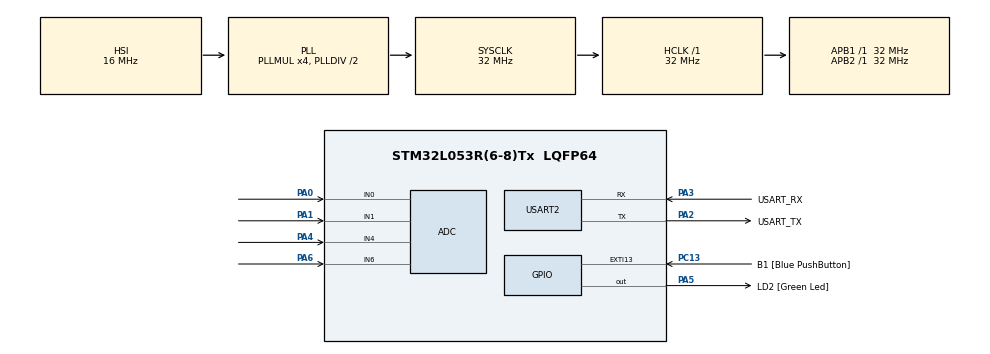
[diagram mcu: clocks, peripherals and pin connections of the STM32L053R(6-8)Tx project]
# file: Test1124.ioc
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ADC.ContinuousConvMode=ENABLE
ADC.DMAContinuousRequests=DISABLE
Dma.ADC.0.Direction=DMA_PERIPH_TO_MEMORY
Dma.ADC.0.Instance=DMA1_Channel1
Dma.ADC.0.MemDataAlignment=DMA_MDATAALIGN_HALFWORD
Dma.ADC.0.MemInc=DMA_MINC_ENABLE
Dma.ADC.0.Mode=DMA_CIRCULAR
Dma.ADC.0.PeriphDataAlignment=DMA_PDATAALIGN_HALFWORD
Dma.ADC.0.PeriphInc=DMA_PINC_DISABLE
Dma.ADC.0.Priority=DMA_PRIORITY_LOW
Dma.Request0=ADC
Mcu.Family=STM32L0
Mcu.Name=STM32L053R(6-8)Tx
Mcu.Package=LQFP64
NVIC.DMA1_Channel1_IRQn=true\:0\:0\:false\:false\:true\:false\:true\:true
PA0.Mode=IN0
PA0.Signal=ADC_IN0
PA1.Mode=IN1
PA1.Signal=ADC_IN1
PA13.GPIO_Label=TMS
PA13.Mode=Serial_Wire
PA13.Signal=SYS_SWDIO
PA14.GPIO_Label=TCK
PA14.Mode=Serial_Wire
PA14.Signal=SYS_SWCLK
PA2.GPIO_Label=USART_TX
PA2.Mode=Asynchronous
PA2.Signal=USART2_TX
PA3.GPIO_Label=USART_RX
PA3.Mode=Asynchronous
PA3.Signal=USART2_RX
PA4.Mode=IN4
PA4.Signal=ADC_IN4
PA5.GPIO_Label=LD2 [Green Led]
PA5.Signal=GPIO_Output
PA6.Mode=IN6
PA6.Signal=ADC_IN6
PC13.GPIO_Label=B1 [Blue PushButton]
PC13.GPIO_ModeDefaultEXTI=GPIO_MODE_IT_FALLING
PC13.Signal=GPXTI13
PC14-OSC32_IN.Mode=LSE-External-Oscillator
PC14-OSC32_IN.Signal=RCC_OSC32_IN
PC15-OSC32_OUT.Mode=LSE-External-Oscillator
PC15-OSC32_OUT.Signal=RCC_OSC32_OUT
PH0-OSC_IN.Mode=HSE-External-Clock-Source
PH0-OSC_IN.Signal=RCC_OSC_IN
PH1-OSC_OUT.Signal=RCC_OSC_OUT
ProjectManager.HeapSize=0x200
ProjectManager.StackSize=0x400
ProjectManager.TargetToolchain=CMake
RCC.AHBFreq_Value=32000000
RCC.APB1Freq_Value=32000000
RCC.APB1TimFreq_Value=32000000
RCC.APB2Freq_Value=32000000
RCC.APB2TimFreq_Value=32000000
RCC.HCLKFreq_Value=32000000
RCC.HSE_VALUE=8000000
RCC.HSI16_VALUE=16000000
RCC.HSI48_VALUE=48000000
RCC.HSI_VALUE=16000000
RCC.MSI_VALUE=2097000
RCC.PLLMUL=RCC_PLLMUL_4
RCC.SYSCLKFreq_VALUE=32000000
RCC.SYSCLKSource=RCC_SYSCLKSOURCE_PLLCLK
RCC.VCOOutputFreq_Value=64000000
USART2.VirtualMode-Asynchronous=VM_ASYNC
board=NUCLEO-L053R8

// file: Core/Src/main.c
/* USER CODE BEGIN Header */
/**
 ******************************************************************************
 * @file           : main.c
 * @brief          : Main program body
 ******************************************************************************
 * @attention
 *
 * Copyright (c) 2024 STMicroelectronics.
 * All rights reserved.
 *
 * This software is licensed under terms that can be found in the LICENSE file
 * in the root directory of this software component.
 * If no LICENSE file comes with this software, it is provided AS-IS.
 *
 ******************************************************************************
 */
/* USER CODE END Header */
#include "main.h"
#include <stm32l0xx_hal_pwr.h>
#include "SEGGER_RTT.h"

ADC_HandleTypeDef hadc;

UART_HandleTypeDef huart2;

void SystemClock_Config(void);
static void MX_GPIO_Init(void);
static void MX_ADC_Init(void);
static void MX_USART2_UART_Init(void);

int main(void)
{

  /* USER CODE BEGIN 1 */
  uint8_t counter;
  uint16_t voltage[4];
  /* USER CODE END 1 */

  /* MCU Configuration--------------------------------------------------------*/

  /* Reset of all peripherals, Initializes the Flash interface and the Systick. */
  HAL_Init();

  /* Configure the system clock */
  SystemClock_Config();

  /* Initialize all configured peripherals */
  MX_GPIO_Init();
  MX_ADC_Init();
  MX_USART2_UART_Init();

  /* Infinite loop */
  /* USER CODE BEGIN WHILE */
  counter = 0;
  while (1)
  {
    HAL_GPIO_TogglePin(LD2_GPIO_Port, LD2_Pin);
    HAL_ADC_Start(&hadc);
    HAL_ADC_PollForConversion(&hadc, 0x01);
    if (HAL_IS_BIT_SET(HAL_ADC_GetState(&hadc), HAL_ADC_STATE_REG_EOC))
    {
      voltage[counter] = HAL_ADC_GetValue(&hadc);
      voltage[counter] = voltage[counter] * 3300 / 4095;
      SEGGER_RTT_printf(0, "voltage[%d]=%d\n", counter, voltage[counter]);
      counter++;
    }
    HAL_ADC_PollForConversion(&hadc, 0x01);
    if (HAL_IS_BIT_SET(HAL_ADC_GetState(&hadc), HAL_ADC_STATE_REG_EOC))
    {
      voltage[counter] = HAL_ADC_GetValue(&hadc);
      voltage[counter] = voltage[counter] * 3300 / 4095;
      SEGGER_RTT_printf(0, "voltage[%d]=%d\n", counter, voltage[counter]);
      counter++;
    }
    HAL_ADC_PollForConversion(&hadc, 0x01);
    if (HAL_IS_BIT_SET(HAL_ADC_GetState(&hadc), HAL_ADC_STATE_REG_EOC))
    {
      voltage[counter] = HAL_ADC_GetValue(&hadc);
      voltage[counter] = voltage[counter] * 3300 / 4095;
      SEGGER_RTT_printf(0, "voltage[%d]=%d\n", counter, voltage[counter]);
      counter++;
    }
    HAL_ADC_PollForConversion(&hadc, 0x01);
    if (HAL_IS_BIT_SET(HAL_ADC_GetState(&hadc), HAL_ADC_STATE_REG_EOC))
    {
      voltage[counter] = HAL_ADC_GetValue(&hadc);
      voltage[counter] = voltage[counter] * 3300 / 4095;
      SEGGER_RTT_printf(0, "voltage[%d]=%d\n", counter, voltage[counter]);
      counter = 0;
    }
    SEGGER_RTT_printf(0, "\n");
    HAL_Delay(500);
    /* USER CODE END WHILE */

  }
}

void SystemClock_Config(void)
{
  RCC_OscInitTypeDef RCC_OscInitStruct = {0};
  RCC_ClkInitTypeDef RCC_ClkInitStruct = {0};
  RCC_PeriphCLKInitTypeDef PeriphClkInit = {0};

  /** Configure the main internal regulator output voltage
   */
  __HAL_PWR_VOLTAGESCALING_CONFIG(PWR_REGULATOR_VOLTAGE_SCALE1);

  /** Initializes the RCC Oscillators according to the specified parameters
   * in the RCC_OscInitTypeDef structure.
   */
  RCC_OscInitStruct.OscillatorType = RCC_OSCILLATORTYPE_HSI;
  RCC_OscInitStruct.HSIState = RCC_HSI_ON;
  RCC_OscInitStruct.HSICalibrationValue = RCC_HSICALIBRATION_DEFAULT;
  RCC_OscInitStruct.PLL.PLLState = RCC_PLL_ON;
  RCC_OscInitStruct.PLL.PLLSource = RCC_PLLSOURCE_HSI;
  RCC_OscInitStruct.PLL.PLLMUL = RCC_PLLMUL_4;
  RCC_OscInitStruct.PLL.PLLDIV = RCC_PLLDIV_2;
  if (HAL_RCC_OscConfig(&RCC_OscInitStruct) != HAL_OK)
  {
    Error_Handler();
  }

  /** Initializes the CPU, AHB and APB buses clocks
   */
  RCC_ClkInitStruct.ClockType = RCC_CLOCKTYPE_HCLK | RCC_CLOCKTYPE_SYSCLK | RCC_CLOCKTYPE_PCLK1 | RCC_CLOCKTYPE_PCLK2;
  RCC_ClkInitStruct.SYSCLKSource = RCC_SYSCLKSOURCE_PLLCLK;
  RCC_ClkInitStruct.AHBCLKDivider = RCC_SYSCLK_DIV1;
  RCC_ClkInitStruct.APB1CLKDivider = RCC_HCLK_DIV1;
  RCC_ClkInitStruct.APB2CLKDivider = RCC_HCLK_DIV1;

  if (HAL_RCC_ClockConfig(&RCC_ClkInitStruct, FLASH_LATENCY_1) != HAL_OK)
  {
    Error_Handler();
  }
  PeriphClkInit.PeriphClockSelection = RCC_PERIPHCLK_USART2;
  PeriphClkInit.Usart2ClockSelection = RCC_USART2CLKSOURCE_PCLK1;
  if (HAL_RCCEx_PeriphCLKConfig(&PeriphClkInit) != HAL_OK)
  {
    Error_Handler();
  }
}

static void MX_ADC_Init(void)
{

  ADC_ChannelConfTypeDef sConfig = {0};

  /** Configure the global features of the ADC (Clock, Resolution, Data Alignment and number of conversion)
   */
  hadc.Instance = ADC1;
  hadc.Init.OversamplingMode = DISABLE;
  hadc.Init.ClockPrescaler = ADC_CLOCK_SYNC_PCLK_DIV2;
  hadc.Init.Resolution = ADC_RESOLUTION_12B;
  hadc.Init.SamplingTime = ADC_SAMPLETIME_1CYCLE_5;
  hadc.Init.ScanConvMode = ADC_SCAN_DIRECTION_FORWARD;
  hadc.Init.DataAlign = ADC_DATAALIGN_RIGHT;
  hadc.Init.ContinuousConvMode = DISABLE;
  hadc.Init.DiscontinuousConvMode = DISABLE;
  hadc.Init.ExternalTrigConvEdge = ADC_EXTERNALTRIGCONVEDGE_NONE;
  hadc.Init.ExternalTrigConv = ADC_SOFTWARE_START;
  hadc.Init.DMAContinuousRequests = DISABLE;
  hadc.Init.EOCSelection = ADC_EOC_SINGLE_CONV;
  hadc.Init.Overrun = ADC_OVR_DATA_PRESERVED;
  hadc.Init.LowPowerAutoWait = DISABLE;
  hadc.Init.LowPowerFrequencyMode = DISABLE;
  hadc.Init.LowPowerAutoPowerOff = DISABLE;
  if (HAL_ADC_Init(&hadc) != HAL_OK)
  {
    Error_Handler();
  }

  /** Configure for the selected ADC regular channel to be converted.
   */
  sConfig.Channel = ADC_CHANNEL_0;
  sConfig.Rank = ADC_RANK_CHANNEL_NUMBER;
  if (HAL_ADC_ConfigChannel(&hadc, &sConfig) != HAL_OK)
  {
    Error_Handler();
  }

  /** Configure for the selected ADC regular channel to be converted.
   */
  sConfig.Channel = ADC_CHANNEL_1;
  if (HAL_ADC_ConfigChannel(&hadc, &sConfig) != HAL_OK)
  {
    Error_Handler();
  }

  /** Configure for the selected ADC regular channel to be converted.
   */
  sConfig.Channel = ADC_CHANNEL_4;
  if (HAL_ADC_ConfigChannel(&hadc, &sConfig) != HAL_OK)
  {
    Error_Handler();
  }

  /** Configure for the selected ADC regular channel to be converted.
   */
  sConfig.Channel = ADC_CHANNEL_6;
  if (HAL_ADC_ConfigChannel(&hadc, &sConfig) != HAL_OK)
  {
    Error_Handler();
  }
}

static void MX_USART2_UART_Init(void)
{

  huart2.Instance = USART2;
  huart2.Init.BaudRate = 115200;
  huart2.Init.WordLength = UART_WORDLENGTH_8B;
  huart2.Init.StopBits = UART_STOPBITS_1;
  huart2.Init.Parity = UART_PARITY_NONE;
  huart2.Init.Mode = UART_MODE_TX_RX;
  huart2.Init.HwFlowCtl = UART_HWCONTROL_NONE;
  huart2.Init.OverSampling = UART_OVERSAMPLING_16;
  huart2.Init.OneBitSampling = UART_ONE_BIT_SAMPLE_DISABLE;
  huart2.AdvancedInit.AdvFeatureInit = UART_ADVFEATURE_NO_INIT;
  if (HAL_UART_Init(&huart2) != HAL_OK)
  {
    Error_Handler();
  }
}

static void MX_GPIO_Init(void)
{
  GPIO_InitTypeDef GPIO_InitStruct = {0};

  /* GPIO Ports Clock Enable */
  __HAL_RCC_GPIOC_CLK_ENABLE();
  __HAL_RCC_GPIOH_CLK_ENABLE();
  __HAL_RCC_GPIOA_CLK_ENABLE();

  /*Configure GPIO pin Output Level */
  HAL_GPIO_WritePin(LD2_GPIO_Port, LD2_Pin, GPIO_PIN_RESET);

  /*Configure GPIO pin : B1_Pin */
  GPIO_InitStruct.Pin = B1_Pin;
  GPIO_InitStruct.Mode = GPIO_MODE_IT_FALLING;
  GPIO_InitStruct.Pull = GPIO_NOPULL;
  HAL_GPIO_Init(B1_GPIO_Port, &GPIO_InitStruct);

  /*Configure GPIO pin : LD2_Pin */
  GPIO_InitStruct.Pin = LD2_Pin;
  GPIO_InitStruct.Mode = GPIO_MODE_OUTPUT_PP;
  GPIO_InitStruct.Pull = GPIO_NOPULL;
  GPIO_InitStruct.Speed = GPIO_SPEED_FREQ_LOW;
  HAL_GPIO_Init(LD2_GPIO_Port, &GPIO_InitStruct);

}

void Error_Handler(void)
{
  __disable_irq();
  while (1)
  {
  }
}
